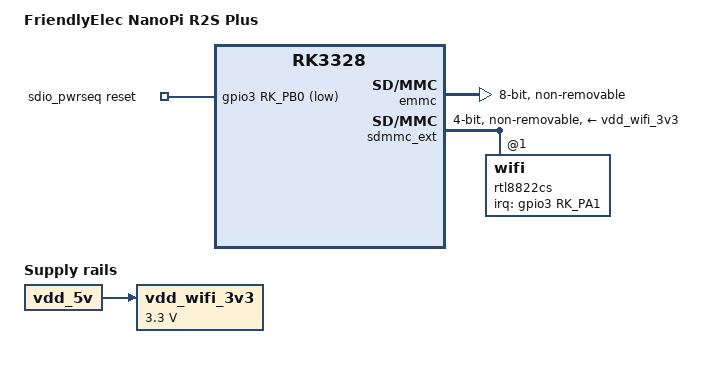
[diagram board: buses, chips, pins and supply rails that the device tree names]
// SPDX-License-Identifier: (GPL-2.0+ OR MIT)
/*
 * (C) Copyright 2018 FriendlyElec Computer Tech. Co., Ltd.
 * (http://www.friendlyarm.com)
 *
 * (C) Copyright 2016 Rockchip Electronics Co., Ltd
 */

/dts-v1/;

#include "rk3328-nanopi-r2s.dtsi"

/ {
	compatible = "friendlyarm,nanopi-r2s-plus", "rockchip,rk3328";
	model = "FriendlyElec NanoPi R2S Plus";

	aliases {
		mmc1 = &emmc;
	};

	vdd_wifi_3v3: regulator-vdd-wifi-3v3 {
		compatible = "regulator-fixed";
		regulator-name = "vdd_wifi_3v3";
		regulator-always-on;
		regulator-boot-on;
		regulator-min-microvolt = <3300000>;
		regulator-max-microvolt = <3300000>;
		vin-supply = <&vdd_5v>;
	};

	sdio_pwrseq: sdio-pwrseq {
		compatible = "mmc-pwrseq-simple";
		clocks = <&rk805 1>;
		clock-names = "ext_clock";
		pinctrl-names = "default";
		pinctrl-0 = <&wifi_reg_on_h>;
		reset-gpios = <&gpio3 RK_PB0 GPIO_ACTIVE_LOW>;
	};
};

&emmc {
	bus-width = <8>;
	cap-mmc-highspeed;
	disable-wp;
	mmc-hs200-1_8v;
	non-removable;
	pinctrl-names = "default";
	pinctrl-0 = <&emmc_clk &emmc_cmd &emmc_bus8>;
	status = "okay";
};

&io_domains {
	vccio4-supply = <&vcc_io_33>;
	vccio6-supply = <&vcc_18>;
};

&pinctrl {
	wifi {
		wifi_host_wake_h: wifi-host-wake-h {
			rockchip,pins = <3 RK_PA1 RK_FUNC_GPIO &pcfg_pull_down>;
		};

		wifi_reg_on_h: wifi-reg-on-h {
			rockchip,pins = <3 RK_PB0 RK_FUNC_GPIO &pcfg_pull_none>;
		};
	};
};

&sdmmc_ext {
	#address-cells = <1>;
	#size-cells = <0>;
	bus-width = <4>;
	cap-sd-highspeed;
	cap-sdio-irq;
	keep-power-in-suspend;
	mmc-pwrseq = <&sdio_pwrseq>;
	no-mmc;
	no-sd;
	non-removable;
	pinctrl-names = "default";
	pinctrl-0 = <&sdmmc0ext_clk &sdmmc0ext_cmd &sdmmc0ext_bus4>;
	sd-uhs-sdr104;
	vmmc-supply = <&vdd_wifi_3v3>;
	vqmmc-supply = <&vcc_18>;
	status = "okay";

	rtl8822cs: wifi@1 {
		reg = <1>;
		interrupt-parent = <&gpio3>;
		interrupts = <RK_PA1 IRQ_TYPE_LEVEL_HIGH>;
		interrupt-names = "host-wake";
		pinctrl-names = "default";
		pinctrl-0 = <&wifi_host_wake_h>;
	};
};
